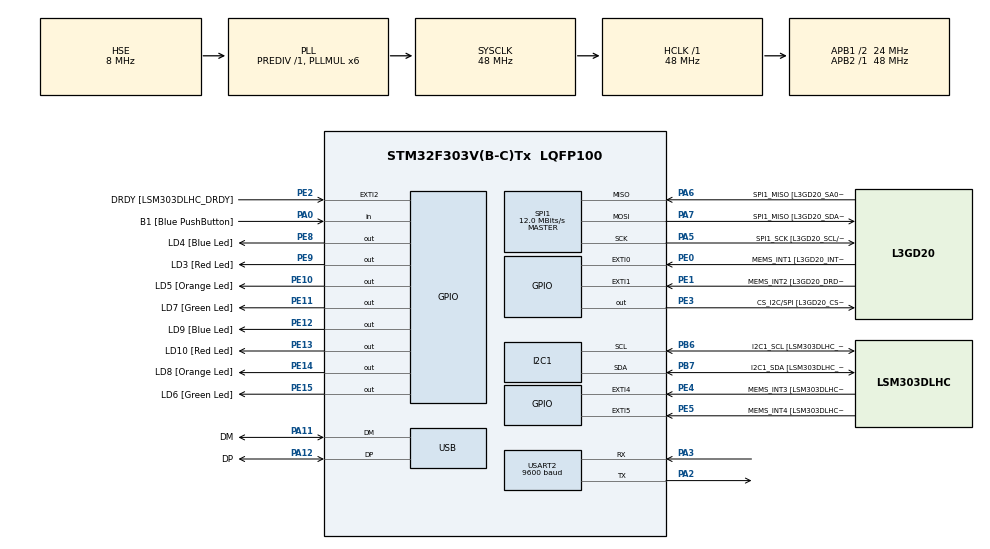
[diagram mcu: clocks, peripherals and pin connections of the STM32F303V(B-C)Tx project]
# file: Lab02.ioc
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I2C1.Timing=0x00201D2B
I2C1.Timing-I2C=0x2000090E
Mcu.Family=STM32F3
Mcu.Name=STM32F303V(B-C)Tx
Mcu.Package=LQFP100
NVIC.PriorityGroup=NVIC_PRIORITYGROUP_0
PA0.GPIO_Label=B1 [Blue PushButton]
PA0.Signal=GPIO_Input
PA11.GPIO_Label=DM
PA11.Mode=Device
PA11.Signal=USB_DM
PA12.GPIO_Label=DP
PA12.Mode=Device
PA12.Signal=USB_DP
PA13.GPIO_Label=SWDIO
PA13.Mode=Serial_Wire
PA13.Signal=SYS_JTMS-SWDIO
PA14.GPIO_Label=SWCLK
PA14.Mode=Serial_Wire
PA14.Signal=SYS_JTCK-SWCLK
PA2.Mode=Asynchronous
PA2.Signal=USART2_TX
PA3.Mode=Asynchronous
PA3.Signal=USART2_RX
PA5.GPIO_Label=SPI1_SCK [L3GD20_SCL/SPC]
PA5.Mode=Full_Duplex_Master
PA5.Signal=SPI1_SCK
PA6.GPIO_Label=SPI1_MISO [L3GD20_SA0/SDO]
PA6.Mode=Full_Duplex_Master
PA6.Signal=SPI1_MISO
PA7.GPIO_Label=SPI1_MISO [L3GD20_SDA/SDI/SDO]
PA7.Mode=Full_Duplex_Master
PA7.Signal=SPI1_MOSI
PB3.GPIO_Label=SWO
PB3.Signal=SYS_JTDO-TRACESWO
PB6.GPIO_Label=I2C1_SCL [LSM303DLHC_SCL]
PB6.GPIO_Pu=GPIO_PULLUP
PB6.Mode=I2C
PB6.Signal=I2C1_SCL
PB7.GPIO_Label=I2C1_SDA [LSM303DLHC_SDA]
PB7.GPIO_Pu=GPIO_PULLUP
PB7.Mode=I2C
PB7.Signal=I2C1_SDA
PC14-OSC32_IN.GPIO_Label=OSC32_IN
PC14-OSC32_IN.Signal=RCC_OSC32_IN
PC15-OSC32_OUT.GPIO_Label=OSC32_OUT
PC15-OSC32_OUT.Signal=RCC_OSC32_OUT
PE0.GPIO_Label=MEMS_INT1 [L3GD20_INT1]
PE0.GPIO_ModeDefaultEXTI=GPIO_MODE_EVT_RISING
PE0.Signal=GPXTI0
PE1.GPIO_Label=MEMS_INT2 [L3GD20_DRDY/INT2]
PE1.GPIO_ModeDefaultEXTI=GPIO_MODE_EVT_RISING
PE1.Signal=GPXTI1
PE10.GPIO_Label=LD5 [Orange Led]
PE10.Signal=GPIO_Output
PE11.GPIO_Label=LD7 [Green Led]
PE11.Signal=GPIO_Output
PE12.GPIO_Label=LD9 [Blue Led]
PE12.Signal=GPIO_Output
PE13.GPIO_Label=LD10 [Red Led]
PE13.Signal=GPIO_Output
PE14.GPIO_Label=LD8 [Orange Led]
PE14.Signal=GPIO_Output
PE15.GPIO_Label=LD6 [Green Led]
PE15.Signal=GPIO_Output
PE2.GPIO_Label=DRDY [LSM303DLHC_DRDY]
PE2.GPIO_ModeDefaultEXTI=GPIO_MODE_EVT_RISING
PE2.Signal=GPXTI2
PE3.GPIO_Label=CS_I2C/SPI [L3GD20_CS_I2C/SPI]
PE3.Signal=GPIO_Output
PE4.GPIO_Label=MEMS_INT3 [LSM303DLHC_INT1]
PE4.GPIO_ModeDefaultEXTI=GPIO_MODE_EVT_RISING
PE4.Signal=GPXTI4
PE5.GPIO_Label=MEMS_INT4 [LSM303DLHC_INT2]
PE5.GPIO_ModeDefaultEXTI=GPIO_MODE_EVT_RISING
PE5.Signal=GPXTI5
PE8.GPIO_Label=LD4 [Blue Led]
PE8.Signal=GPIO_Output
PE9.GPIO_Label=LD3 [Red Led]
PE9.Signal=GPIO_Output
PF0-OSC_IN.GPIO_Label=OSC_IN
PF0-OSC_IN.Mode=HSE-External-Clock-Source
PF0-OSC_IN.Signal=RCC_OSC_IN
PF1-OSC_OUT.GPIO_Label=OSC_OUT
PF1-OSC_OUT.Signal=RCC_OSC_OUT
ProjectManager.HeapSize=0x200
ProjectManager.StackSize=0x400
ProjectManager.TargetToolchain=CMake
RCC.AHBFreq_Value=48000000
RCC.APB1CLKDivider=RCC_HCLK_DIV2
RCC.APB1Freq_Value=24000000
RCC.APB1TimFreq_Value=48000000
RCC.APB2Freq_Value=48000000
RCC.APB2TimFreq_Value=48000000
RCC.CortexFreq_Value=48000000
RCC.HCLKFreq_Value=48000000
RCC.HSE_VALUE=8000000
RCC.HSI_VALUE=8000000
RCC.LSE_VALUE=32768
RCC.PLLMUL=RCC_PLL_MUL6
RCC.SYSCLKFreq_VALUE=48000000
RCC.SYSCLKSourceVirtual=RCC_SYSCLKSOURCE_PLLCLK
RCC.USBFreq_Value=48000000
SPI1.BaudRatePrescaler=SPI_BAUDRATEPRESCALER_4
SPI1.BaudRatePrescaler-Full_Duplex_Master=SPI_BAUDRATEPRESCALER_2
SPI1.CalculateBaudRate=12.0 MBits/s
SPI1.CalculateBaudRate-Full_Duplex_Master=24.0 MBits/s
SPI1.Direction=SPI_DIRECTION_2LINES
SPI1.Mode=SPI_MODE_MASTER
SPI1.Mode-Full_Duplex_Master=SPI_MODE_MASTER
SPI1.VirtualType=VM_MASTER
USART2.BaudRate=9600
USART2.VirtualMode-Asynchronous=VM_ASYNC
board=STM32F3DISCOVERY

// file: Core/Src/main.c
/* USER CODE BEGIN Header */
/**
  ******************************************************************************
  * @file           : main.c
  * @brief          : Main program body
  ******************************************************************************
  * @attention
  *
  * Copyright (c) 2025 STMicroelectronics.
  * All rights reserved.
  *
  * This software is licensed under terms that can be found in the LICENSE file
  * in the root directory of this software component.
  * If no LICENSE file comes with this software, it is provided AS-IS.
  *
  ******************************************************************************
  */
/* USER CODE END Header */
#include "main.h"

/* USER CODE BEGIN Includes */

#include <string.h>
#include "stdio.h"     // For standard I/O functions like vsnprintf
#include "stdarg.h"    // For variable argument handling (va_list, va_start, etc.)

/* USER CODE END Includes */

/* USER CODE BEGIN PD */

#define ROWS 3
#define COLS 3

/* USER CODE END PD */

I2C_HandleTypeDef hi2c1;

SPI_HandleTypeDef hspi1;

UART_HandleTypeDef huart2;

PCD_HandleTypeDef hpcd_USB_FS;

void SystemClock_Config(void);
static void MX_GPIO_Init(void);
static void MX_I2C1_Init(void);
static void MX_SPI1_Init(void);
static void MX_USART2_UART_Init(void);
static void MX_USB_PCD_Init(void);

int main(void)
{

  /* MCU Configuration--------------------------------------------------------*/

  /* Reset of all peripherals, Initializes the Flash interface and the Systick. */
  HAL_Init();

  /* Configure the system clock */
  SystemClock_Config();

  /* Initialize all configured peripherals */
  MX_GPIO_Init();
  MX_I2C1_Init();
  MX_SPI1_Init();
  MX_USART2_UART_Init();
  MX_USB_PCD_Init();
  /* USER CODE BEGIN 2 */

  // TASK # 02 (Proving the famous identity: (a + b)^2 = a^2 + 2ab + b^2):
  HAL_Delay(5000); // Putting a delay in the start to let us open the terminal before program starts
  myPrintf("TASK # 02:\r\n");
  int result = Square_of_a_Sum(3, 7); // Calling the function defined below

  // Converting the integer result to a string for transmission through UART
  char result_as_string[20];
  sprintf(result_as_string, "%d\r\n", result);

  myPrintf(result_as_string);

  // TASK # 03:
  HAL_Delay(2000);
  myPrintf("\r\nTASK # 03: Encryption and Decryption of a String\r\n");

  char key[] = "zn09224";
  char text[] = "This is the DISCOVERY series of STM32!";

  // Encrypting the text
  myPrintf("\r\nEncrypting...\r\n");
  HAL_Delay(2000);
  XOR_Encryption_Decryption(text, key);
  myPrintf(text);

  // Decrypting the text encrypted above
  myPrintf("\r\nDecrypting...\r\n");
  HAL_Delay(2000);
  XOR_Encryption_Decryption(text, key);
  myPrintf(text);

  // TASK # 04:
  HAL_Delay(2000);
  myPrintf("\r\nTASK # 04: Matrix Multiplication\r\n");

  // Initializing two 3 x 3 square matrices
  int matrix_left[ROWS][COLS] = {
    {1, 2, 3},
    {4, 5, 6},
    {7, 8, 9}
  };

  int matrix_right[ROWS][COLS] = {
    {1, 2, 3},
    {4, 5, 6},
    {7, 8, 9}
  };

  int resultingMatrix[ROWS][COLS]; // Creating a 3 x 3 matrix to store the result
  Matrix_Multiplication(matrix_left, matrix_right, resultingMatrix); // Matrix multiplication function call
  Print_Matrix("Matrix A", ROWS, COLS, matrix_left); // Custom function to print the matrix defined below
  HAL_Delay(2000);
  Print_Matrix("Matrix B", ROWS, COLS, matrix_right);
  HAL_Delay(2000);
  Print_Matrix("Resultant Matrix", ROWS, COLS, resultingMatrix);

  // TASK # 05:
  HAL_Delay(2000);
  myPrintf("\r\nTASK # 05: Finding Armstrong Numbers\r\n");

  int armstrong_numbers[2]; // An array to store the two armstrong numbers
  Two_Armstrong_Numbers(armstrong_numbers); // Function call to find the first two armstrong numbers in the range

  // Converting the result to a string
  char result_to_string[9];
  sprintf(result_to_string, "%d, %d\r\n", armstrong_numbers[0], armstrong_numbers[1]);

  // Printing the resulting string
  myPrintf(result_to_string);

  /* USER CODE END 2 */

  /* Infinite loop */
  while (1)
  {

  }
}

// Task 01:
// Custom printf-like function that sends formatted strings over UART
void myPrintf(const char *fmt, ...) {
    char buffer[256];  // A temporary buffer to store the formatted string
                       // Increase size if you expect longer messages

    va_list args;                // Declare a variable to hold the variable arguments
    va_start(args, fmt);        // Initialize the va_list to retrieve the arguments after 'fmt'

    // Format the string using vsnprintf:
    // - fmt is the format string (like "Temp: %d\n")
    // - args is the list of additional arguments
    // - buffer is where the final formatted string is written
    // - sizeof(buffer) prevents buffer overflow
    vsnprintf(buffer, sizeof(buffer), fmt, args);

    va_end(args);               // Clean up the va_list when done

    // Transmit the formatted string over UART using HAL
    // - &huart2: the UART handle (you can change this to another UART)
    // - (uint8_t*)buffer: cast the char* to uint8_t* as required by HAL
    // - strlen(buffer): number of bytes to transmit (excluding null terminator)
    // - HAL_MAX_DELAY: wait indefinitely until transmission is complete
    HAL_UART_Transmit(&huart2, (uint8_t*)buffer, strlen(buffer), HAL_MAX_DELAY);
}

int Square_of_a_Sum(int a, int b)
{
  return ((a + b) * (a + b)) == ((a * a) + 2 * a * b + (b * b));
}

void XOR_Encryption_Decryption(char *string, char *key)
{
  int string_length = strlen(string);
  int key_length = strlen(key);

  for (int i = 0; i < string_length; ++i)
  {
    string[i] ^= key[i % key_length];
  }
}

void Matrix_Multiplication(int A[ROWS][COLS], int B[ROWS][COLS], int result[ROWS][COLS])
{

  // Making sure the result matrix is entirely zero in the beginning
  for (int i = 0; i < ROWS; ++i) {
    for (int j = 0; j < COLS; ++j) {
      result[i][j] = 0;
    }
  }

  // Matrix Multiplication
  for (int i = 0; i < ROWS; ++i) {
    for (int j = 0; j < COLS; ++j) {
      for (int k = 0; k < COLS; ++k) {
        result[i][j] += A[i][k] * B[k][j];
      }
    }
  }

}

void Print_Matrix(const char* name, int rows, int cols, int matrix[rows][cols]) {

  char buffer[256];

  // Print matrix name
  sprintf(buffer, "%s:\r\n", name);
  myPrintf(buffer);

  // Print each row
  for (int i = 0; i < rows; i++) {
      buffer[0] = '\0';  // clear buffer for new row
      for (int j = 0; j < cols; j++) {
          char temp[16];
          sprintf(temp, "%d ", matrix[i][j]);
          strcat(buffer, temp);
      }
      strcat(buffer, "\r\n");
      myPrintf(buffer);
  }

  // Add newline between matrices
  myPrintf("\r\n");

}

int isArmstrong(int num)
{
  int original = num, sum = 0;
  while (num > 0) {
      int digit = num % 10;
      sum += digit * digit * digit; // cube of the digit
      num /= 10;
  }
  return sum == original;
}

void Two_Armstrong_Numbers(int result[2])
{
  int count = 0;
  for (int i = 100; i <= 999 && count < 2; i++) {
      if (isArmstrong(i)) {
          result[count++] = i;
      }
  }
}

void SystemClock_Config(void)
{
  RCC_OscInitTypeDef RCC_OscInitStruct = {0};
  RCC_ClkInitTypeDef RCC_ClkInitStruct = {0};
  RCC_PeriphCLKInitTypeDef PeriphClkInit = {0};

  /** Initializes the RCC Oscillators according to the specified parameters
  * in the RCC_OscInitTypeDef structure.
  */
  RCC_OscInitStruct.OscillatorType = RCC_OSCILLATORTYPE_HSI|RCC_OSCILLATORTYPE_HSE;
  RCC_OscInitStruct.HSEState = RCC_HSE_BYPASS;
  RCC_OscInitStruct.HSEPredivValue = RCC_HSE_PREDIV_DIV1;
  RCC_OscInitStruct.HSIState = RCC_HSI_ON;
  RCC_OscInitStruct.HSICalibrationValue = RCC_HSICALIBRATION_DEFAULT;
  RCC_OscInitStruct.PLL.PLLState = RCC_PLL_ON;
  RCC_OscInitStruct.PLL.PLLSource = RCC_PLLSOURCE_HSE;
  RCC_OscInitStruct.PLL.PLLMUL = RCC_PLL_MUL6;
  if (HAL_RCC_OscConfig(&RCC_OscInitStruct) != HAL_OK)
  {
    Error_Handler();
  }

  /** Initializes the CPU, AHB and APB buses clocks
  */
  RCC_ClkInitStruct.ClockType = RCC_CLOCKTYPE_HCLK|RCC_CLOCKTYPE_SYSCLK
                              |RCC_CLOCKTYPE_PCLK1|RCC_CLOCKTYPE_PCLK2;
  RCC_ClkInitStruct.SYSCLKSource = RCC_SYSCLKSOURCE_PLLCLK;
  RCC_ClkInitStruct.AHBCLKDivider = RCC_SYSCLK_DIV1;
  RCC_ClkInitStruct.APB1CLKDivider = RCC_HCLK_DIV2;
  RCC_ClkInitStruct.APB2CLKDivider = RCC_HCLK_DIV1;

  if (HAL_RCC_ClockConfig(&RCC_ClkInitStruct, FLASH_LATENCY_1) != HAL_OK)
  {
    Error_Handler();
  }
  PeriphClkInit.PeriphClockSelection = RCC_PERIPHCLK_USB|RCC_PERIPHCLK_USART2
                              |RCC_PERIPHCLK_I2C1;
  PeriphClkInit.Usart2ClockSelection = RCC_USART2CLKSOURCE_PCLK1;
  PeriphClkInit.I2c1ClockSelection = RCC_I2C1CLKSOURCE_HSI;
  PeriphClkInit.USBClockSelection = RCC_USBCLKSOURCE_PLL;
  if (HAL_RCCEx_PeriphCLKConfig(&PeriphClkInit) != HAL_OK)
  {
    Error_Handler();
  }
}

static void MX_I2C1_Init(void)
{

  hi2c1.Instance = I2C1;
  hi2c1.Init.Timing = 0x00201D2B;
  hi2c1.Init.OwnAddress1 = 0;
  hi2c1.Init.AddressingMode = I2C_ADDRESSINGMODE_7BIT;
  hi2c1.Init.DualAddressMode = I2C_DUALADDRESS_DISABLE;
  hi2c1.Init.OwnAddress2 = 0;
  hi2c1.Init.OwnAddress2Masks = I2C_OA2_NOMASK;
  hi2c1.Init.GeneralCallMode = I2C_GENERALCALL_DISABLE;
  hi2c1.Init.NoStretchMode = I2C_NOSTRETCH_DISABLE;
  if (HAL_I2C_Init(&hi2c1) != HAL_OK)
  {
    Error_Handler();
  }

  /** Configure Analogue filter
  */
  if (HAL_I2CEx_ConfigAnalogFilter(&hi2c1, I2C_ANALOGFILTER_ENABLE) != HAL_OK)
  {
    Error_Handler();
  }

  /** Configure Digital filter
  */
  if (HAL_I2CEx_ConfigDigitalFilter(&hi2c1, 0) != HAL_OK)
  {
    Error_Handler();
  }

}

static void MX_SPI1_Init(void)
{

  /* SPI1 parameter configuration*/
  hspi1.Instance = SPI1;
  hspi1.Init.Mode = SPI_MODE_MASTER;
  hspi1.Init.Direction = SPI_DIRECTION_2LINES;
  hspi1.Init.DataSize = SPI_DATASIZE_4BIT;
  hspi1.Init.CLKPolarity = SPI_POLARITY_LOW;
  hspi1.Init.CLKPhase = SPI_PHASE_1EDGE;
  hspi1.Init.NSS = SPI_NSS_SOFT;
  hspi1.Init.BaudRatePrescaler = SPI_BAUDRATEPRESCALER_4;
  hspi1.Init.FirstBit = SPI_FIRSTBIT_MSB;
  hspi1.Init.TIMode = SPI_TIMODE_DISABLE;
  hspi1.Init.CRCCalculation = SPI_CRCCALCULATION_DISABLE;
  hspi1.Init.CRCPolynomial = 7;
  hspi1.Init.CRCLength = SPI_CRC_LENGTH_DATASIZE;
  hspi1.Init.NSSPMode = SPI_NSS_PULSE_ENABLE;
  if (HAL_SPI_Init(&hspi1) != HAL_OK)
  {
    Error_Handler();
  }

}

static void MX_USART2_UART_Init(void)
{

  huart2.Instance = USART2;
  huart2.Init.BaudRate = 9600;
  huart2.Init.WordLength = UART_WORDLENGTH_8B;
  huart2.Init.StopBits = UART_STOPBITS_1;
  huart2.Init.Parity = UART_PARITY_NONE;
  huart2.Init.Mode = UART_MODE_TX_RX;
  huart2.Init.HwFlowCtl = UART_HWCONTROL_NONE;
  huart2.Init.OverSampling = UART_OVERSAMPLING_16;
  huart2.Init.OneBitSampling = UART_ONE_BIT_SAMPLE_DISABLE;
  huart2.AdvancedInit.AdvFeatureInit = UART_ADVFEATURE_NO_INIT;
  if (HAL_UART_Init(&huart2) != HAL_OK)
  {
    Error_Handler();
  }

}

static void MX_USB_PCD_Init(void)
{

  hpcd_USB_FS.Instance = USB;
  hpcd_USB_FS.Init.dev_endpoints = 8;
  hpcd_USB_FS.Init.speed = PCD_SPEED_FULL;
  hpcd_USB_FS.Init.phy_itface = PCD_PHY_EMBEDDED;
  hpcd_USB_FS.Init.low_power_enable = DISABLE;
  hpcd_USB_FS.Init.battery_charging_enable = DISABLE;
  if (HAL_PCD_Init(&hpcd_USB_FS) != HAL_OK)
  {
    Error_Handler();
  }

}

static void MX_GPIO_Init(void)
{
  GPIO_InitTypeDef GPIO_InitStruct = {0};

  /* GPIO Ports Clock Enable */
  __HAL_RCC_GPIOE_CLK_ENABLE();
  __HAL_RCC_GPIOC_CLK_ENABLE();
  __HAL_RCC_GPIOF_CLK_ENABLE();
  __HAL_RCC_GPIOA_CLK_ENABLE();
  __HAL_RCC_GPIOB_CLK_ENABLE();

  /*Configure GPIO pin Output Level */
  HAL_GPIO_WritePin(GPIOE, CS_I2C_SPI_Pin|LD4_Pin|LD3_Pin|LD5_Pin
                          |LD7_Pin|LD9_Pin|LD10_Pin|LD8_Pin
                          |LD6_Pin, GPIO_PIN_RESET);

  /*Configure GPIO pins : DRDY_Pin MEMS_INT3_Pin MEMS_INT4_Pin MEMS_INT1_Pin
                           MEMS_INT2_Pin */
  GPIO_InitStruct.Pin = DRDY_Pin|MEMS_INT3_Pin|MEMS_INT4_Pin|MEMS_INT1_Pin
                          |MEMS_INT2_Pin;
  GPIO_InitStruct.Mode = GPIO_MODE_EVT_RISING;
  GPIO_InitStruct.Pull = GPIO_NOPULL;
  HAL_GPIO_Init(GPIOE, &GPIO_InitStruct);

  /*Configure GPIO pins : CS_I2C_SPI_Pin LD4_Pin LD3_Pin LD5_Pin
                           LD7_Pin LD9_Pin LD10_Pin LD8_Pin
                           LD6_Pin */
  GPIO_InitStruct.Pin = CS_I2C_SPI_Pin|LD4_Pin|LD3_Pin|LD5_Pin
                          |LD7_Pin|LD9_Pin|LD10_Pin|LD8_Pin
                          |LD6_Pin;
  GPIO_InitStruct.Mode = GPIO_MODE_OUTPUT_PP;
  GPIO_InitStruct.Pull = GPIO_NOPULL;
  GPIO_InitStruct.Speed = GPIO_SPEED_FREQ_LOW;
  HAL_GPIO_Init(GPIOE, &GPIO_InitStruct);

  /*Configure GPIO pin : B1_Pin */
  GPIO_InitStruct.Pin = B1_Pin;
  GPIO_InitStruct.Mode = GPIO_MODE_INPUT;
  GPIO_InitStruct.Pull = GPIO_NOPULL;
  HAL_GPIO_Init(B1_GPIO_Port, &GPIO_InitStruct);

}

void Error_Handler(void)
{
  __disable_irq();
  while (1)
  {
  }
}
